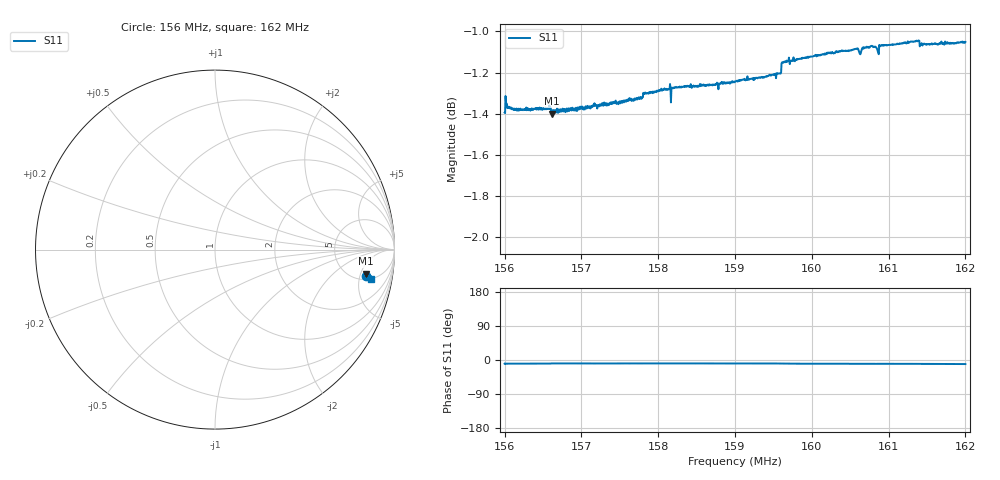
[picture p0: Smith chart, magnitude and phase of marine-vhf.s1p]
! Calibrated averaged scanner-service zoom
# Hz S RI R 50
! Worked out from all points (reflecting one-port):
!   1001 points, 156 MHz to 162 MHz, reference 50 ohm
!   lowest |S11| = -1.4 dB at 156.62 MHz (marker M1), VSWR 12.44, Z = 319 - j309 ohm
!   phase of S11 starts at -10 deg and turns -1 deg over the sweep
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1.56e8  0.8392 -0.1453
1.56036e8  0.8415 -0.1441
1.56042e8  0.8422 -0.1439
1.56156e8  0.8417 -0.142
1.5657e8  0.8418 -0.14
1.56618e8  0.8406 -0.1334
1.56636e8  0.8421 -0.1339
1.5675e8  0.842 -0.1344
1.57146e8  0.8437 -0.1351
1.57242e8  0.8446 -0.1367
1.575e8  0.8463 -0.1354
1.57758e8  0.8475 -0.1347
1.57842e8  0.8505 -0.1332
1.5825e8  0.853 -0.1359
1.59e8  0.8554 -0.1378
1.59564e8  0.8594 -0.1385
1.59636e8  0.8635 -0.1477
1.5975e8  0.8642 -0.1476
1.605e8  0.8686 -0.1517
1.60626e8  0.8673 -0.1495
1.60686e8  0.8696 -0.153
1.60788e8  0.8705 -0.1535
1.6086e8  0.8675 -0.1552
1.60908e8  0.8707 -0.1542
1.6125e8  0.8725 -0.156
1.6137e8  0.8726 -0.1565
1.61436e8  0.8703 -0.1588
1.62e8  0.8705 -0.1649
